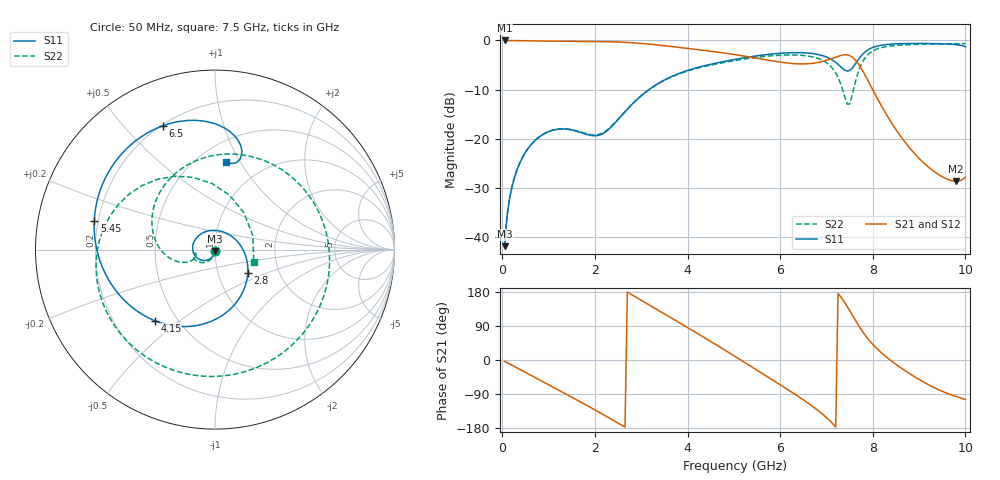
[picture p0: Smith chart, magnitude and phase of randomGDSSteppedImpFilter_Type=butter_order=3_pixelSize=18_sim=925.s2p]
! freq	dB(S11)	phase(S11)	dB(S12)	phase(S12)
!  dB(S21)	phase(S21)	dB(S22)	phase(S22)
!S-par simulation data
#  GHz  S  DB  R 50
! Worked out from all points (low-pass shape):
!   200 points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, 50 MHz to 10 GHz, reference 50 ohm
!   highest |S21| = -0.01 dB at 50 MHz (marker M1); lowest = -28.7 dB at 9.8 GHz (marker M2)
!   |S21| within 3 dB of the highest: start of sweep to 5.104 GHz; 7.335 GHz to 7.47 GHz (134.7 MHz wide, 1.82 % of centre)
!   lowest |S11| = -41.9 dB at 50 MHz (marker M3), VSWR 1.02, Z = 50 - j0.803 ohm
!   |S11| at or under -10 dB: start of sweep to 3.169 GHz
!   |S22| runs from -41.9 to -0.7 dB; largest |S21 - S12| = 0
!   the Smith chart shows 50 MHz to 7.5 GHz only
!   S11 on the Smith chart (normalised r, x): 50 MHz: 1.00, -0.02; 2.8 GHz: 1.39, -0.38; 4.15 GHz: 0.38, -0.41; 5.45 GHz: 0.18, +0.11; 6.5 GHz: 0.21, +0.65; 7.5 GHz: 0.68, +0.88
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0.05  -41.89 -92.7  -0.01 -3.3  -0.01 -3.3  -41.88 -92.0
0.2  -30.18 -104.1  -0.02 -13.2  -0.02 -13.2  -30.17 -101.5
0.55  -22.10 -130.5  -0.08 -36.0  -0.08 -36.0  -22.07 -122.4
1.15  -18.16 -177.7  -0.16 -75.1  -0.16 -75.1  -18.11 -153.8
1.75  -18.92 119.4  -0.20 -114.7  -0.20 -114.7  -18.80 -170.4
2.3  -18.08 29.4  -0.26 -152.4  -0.26 -152.4  -17.94 -156.7
2.8  -13.01 -35.1  -0.47 172.1  -0.47 172.1  -13.00 -163.0
3.4  -8.58 -84.7  -0.97 128.9  -0.97 128.9  -8.63 160.9
4.15  -5.69 -130.3  -1.79 74.7  -1.79 74.7  -5.81 98.9
5.05  -3.82 -174.5  -2.93 7.6  -2.93 7.6  -4.06 8.9
5.45  -3.20 166.5  -3.56 -23.0  -3.56 -23.0  -3.49 -33.7
6  -2.62 139.1  -4.42 -65.3  -4.42 -65.3  -3.01 -91.3
6.5  -2.52 112.8  -4.78 -105.0  -4.78 -105.0  -3.07 -143.6
6.7  -2.67 101.8  -4.66 -122.2  -4.66 -122.2  -3.36 -165.9
7.2  -4.48 76.1  -3.40 -176.9  -3.40 -176.9  -6.62 118.9
7.5  -6.13 82.6  -3.09 130.7  -3.09 130.7  -12.93 -17.2
7.75  -3.13 83.1  -5.67 80.3  -5.67 80.3  -4.91 -128.3
8  -1.43 65.5  -10.05 41.2  -10.05 41.2  -2.14 -179.3
8.35  -0.79 42.3  -15.94 2.3  -15.94 2.3  -1.17 135.3
8.95  -0.62 9.4  -23.53 -47.8  -23.53 -47.8  -0.80 80.4
9.8  -0.86 -32.9  -28.68 -96.1  -28.68 -96.1  -0.67 21.5
10  -1.28 -45.0  -27.83 -104.2  -27.83 -104.2  -0.66 9.8
